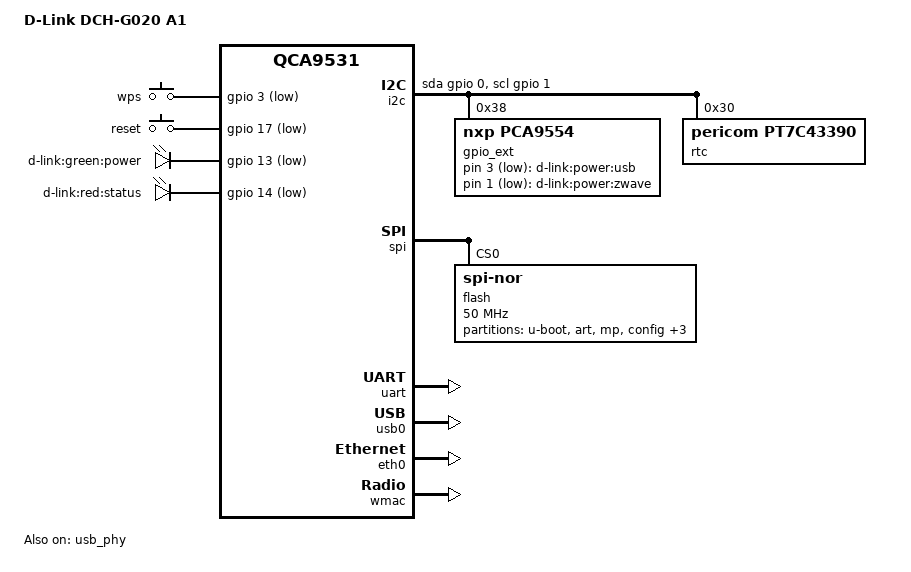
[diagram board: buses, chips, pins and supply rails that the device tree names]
// SPDX-License-Identifier: GPL-2.0-or-later OR MIT
/dts-v1/;

#include <dt-bindings/gpio/gpio.h>
#include <dt-bindings/input/input.h>

#include "qca953x.dtsi"

/ {
	compatible = "dlink,dch-g020-a1", "qca,qca9531";
	model = "D-Link DCH-G020 A1";

	aliases {
		led-boot = &led_power;
		led-failsafe = &led_power;
		led-running = &led_power;
		led-upgrade = &led_power;
	};

	i2c {
		compatible = "i2c-gpio";
		#address-cells = <1>;
		#size-cells = <1>;

		sda-gpios = <&gpio 0 GPIO_ACTIVE_HIGH>;
		scl-gpios = <&gpio 1 GPIO_ACTIVE_HIGH>;

		gpio_ext: gpio_ext@38 {
			compatible = "nxp,pca9554";
			reg = <0x38 0x1>;

			gpio-controller;
			#gpio-cells = <2>;
		};

		rtc@30 {
			compatible = "pericom,pt7c43390";
			reg = <0x30 0x8>;
		};
	};

	gpio-export {
		compatible = "gpio-export";

		usb_power {
			label = "d-link:power:usb";
			gpio-export,name = "d-link:power:usb";
			gpio-export,output = <0>;
			gpios = <&gpio_ext 3 GPIO_ACTIVE_LOW>;
		};

		zwave_power {
			label = "d-link:power:zwave";
			gpio-export,name = "d-link:power:zwave";
			gpio-export,output = <0>;
			gpios = <&gpio_ext 1 GPIO_ACTIVE_LOW>;
		};
	};

	keys {
		compatible = "gpio-keys";

		wps {
			label = "wps";
			linux,code = <KEY_WPS_BUTTON>;
			gpios = <&gpio 3 GPIO_ACTIVE_LOW>;
		};

		reset {
			label = "reset";
			linux,code = <KEY_RESTART>;
			gpios = <&gpio 17 GPIO_ACTIVE_LOW>;
		};
	};

	leds {
		compatible = "gpio-leds";

		led_power: power {
			label = "d-link:green:power";
			gpios = <&gpio 13 GPIO_ACTIVE_LOW>;
		};

		status {
			label = "d-link:red:status";
			gpios = <&gpio 14 GPIO_ACTIVE_LOW>;
		};
	};
};

&spi {
	status = "okay";

	num-cs = <1>;

	flash@0 {
		compatible = "jedec,spi-nor";
		reg = <0>;
		spi-max-frequency = <50000000>;

		partitions {
			compatible = "fixed-partitions";
			#address-cells = <1>;
			#size-cells = <1>;

			partition@0 {
				label = "u-boot";
				reg = <0x0 0x10000>;
				read-only;
			};

			art: partition@10000 {
				label = "art";
				reg = <0x10000 0x10000>;
				read-only;
			};

			partition@20000 {
				label = "mp";
				reg = <0x20000 0x10000>;
				read-only;
			};

			partition@30000 {
				label = "config";
				reg = <0x30000 0x10000>;
				read-only;
			};

			partition@40000 {
				label = "bootarg";
				reg = <0x40000 0x10000>;
				read-only;
			};

			partition@50000 {
				label = "firmware";
				reg = <0x50000 0xe70000>;
				compatible = "denx,uimage";
			};

			partition@ec0000 {
				label = "dlink";
				reg = <0xec0000 0x140000>;
				read-only;
			};
		};
	};
};

&uart {
	status = "okay";
};

&usb0 {
	status = "okay";
};

&usb_phy {
	status = "okay";
};

&eth0 {
	status = "okay";
};

&wmac {
	status = "okay";

	mtd-cal-data = <&art 0x1000>;
};
